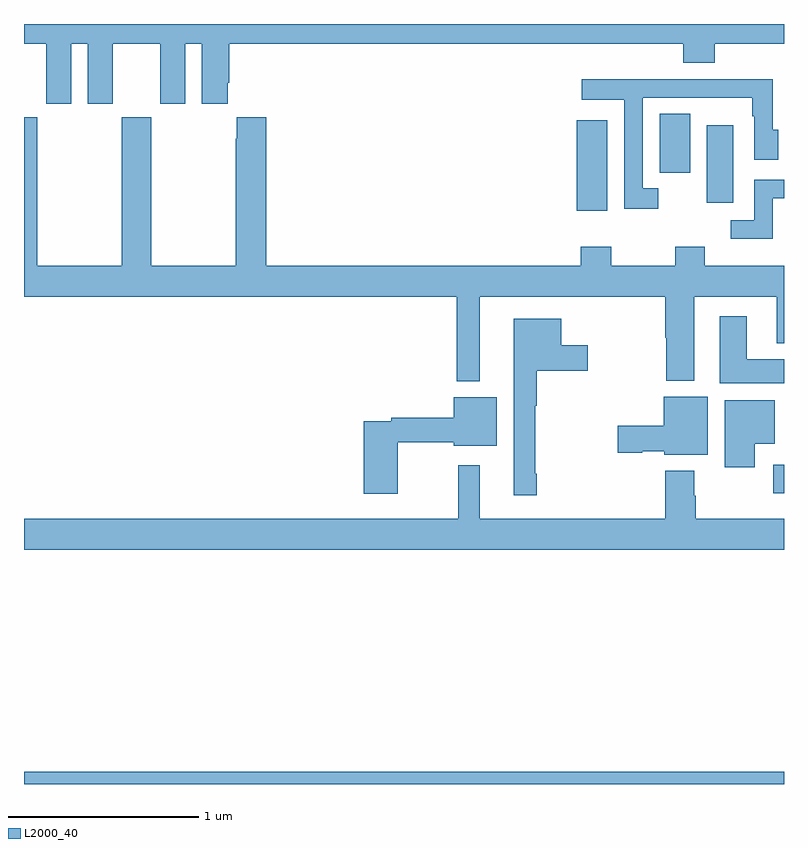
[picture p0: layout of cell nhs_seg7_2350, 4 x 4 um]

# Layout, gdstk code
import gdstk
lib = gdstk.Library(unit=1e-6, precision=1e-09)
def R(c, l, rs):  # rectangles x0, y0, x1, y1
    for r in rs: c.add(gdstk.rectangle(r[:2], r[2:], *l))
def P(c, l, *ps):  # polygons
    for p in ps: c.add(gdstk.Polygon(p, *l))
L2000_40 = (2000, 40)

nhs_seg7_2350 = lib.new_cell('nhs_seg7_2350')
R(nhs_seg7_2350, L2000_40, [(263,1050,267,1050.064), (266.943,1051.529,267,1051.681), (265.91,1053.018,266.071,1053.493), (266.594,1053.06,266.734,1053.466), (266.345,1053.216,266.506,1053.527)])
P(nhs_seg7_2350, L2000_40, [(263.248,1053.896),(263.336,1053.896),(263.336,1053.579),(263.467,1053.579),(263.467,1053.896),(263.717,1053.896),(263.717,1053.579),(263.848,1053.579),(263.848,1053.896),(263.936,1053.896),(263.936,1053.579),(264.073,1053.579),(264.073,1053.691),(264.08,1053.691),(264.08,1053.896),(266.471,1053.896),(266.471,1053.797),(266.636,1053.797),(266.636,1053.896),(267,1053.896),(267,1054),(263,1054),(263,1053.896),(263.117,1053.896),(263.117,1053.579),(263.248,1053.579)],
  [(266.338,1053.135),(266.256,1053.135),(266.256,1053.612),(266.602,1053.612),(266.602,1053.611),(266.832,1053.611),(266.832,1053.515),(266.844,1053.515),(266.844,1053.285),(266.971,1053.285),(266.971,1053.444),(266.94,1053.444),(266.94,1053.71),(266.719,1053.71),(266.719,1053.708),(266.353,1053.708),(266.353,1053.71),(265.935,1053.71),(265.935,1053.602),(266.16,1053.602),(266.16,1053.027),(266.338,1053.027)],
  [(265.399,1052.564),(266.375,1052.564),(266.375,1052.349),(266.38,1052.349),(266.38,1052.123),(266.527,1052.123),(266.527,1052.564),(266.963,1052.564),(266.963,1052.321),(267,1052.321),(267,1052.728),(266.583,1052.728),(266.583,1052.827),(266.428,1052.827),(266.428,1052.728),(266.091,1052.728),(266.091,1052.827),(265.931,1052.827),(265.931,1052.728),(264.275,1052.728),(264.275,1053.508),(264.119,1053.508),(264.119,1053.395),(264.115,1053.395),(264.115,1052.728),(263.67,1052.728),(263.67,1053.508),(263.515,1053.508),(263.515,1052.728),(263.07,1052.728),(263.07,1053.508),(263,1053.508),(263,1052.564),(265.278,1052.564),(265.278,1052.12),(265.399,1052.12)],
  [(266.94,1053.084),(267,1053.084),(267,1053.18),(266.844,1053.18),(266.844,1052.967),(266.721,1052.967),(266.721,1052.87),(266.94,1052.87)],
  [(267,1052.236),(266.803,1052.236),(266.803,1052.461),(266.663,1052.461),(266.663,1052.108),(267,1052.108)],
  [(265.699,1051.633),(265.691,1051.633),(265.691,1051.99),(265.699,1051.99),(265.699,1052.174),(265.966,1052.174),(265.966,1052.308),(265.828,1052.308),(265.828,1052.449),(265.577,1052.449),(265.577,1051.521),(265.699,1051.521)],
  [(266.599,1052.038),(266.366,1052.038),(266.366,1051.886),(266.124,1051.886),(266.124,1051.744),(266.253,1051.744),(266.253,1051.751),(266.37,1051.751),(266.37,1051.733),(266.599,1051.733)],
  [(264.966,1051.8),(265.262,1051.8),(265.262,1051.781),(265.489,1051.781),(265.489,1052.035),(265.262,1052.035),(265.262,1051.928),(264.934,1051.928),(264.934,1051.908),(264.788,1051.908),(264.788,1051.527),(264.966,1051.527)],
  [(266.845,1051.79),(266.95,1051.79),(266.95,1052.02),(266.687,1052.02),(266.687,1051.668),(266.845,1051.668)],
  [(267,1051.396),(266.535,1051.396),(266.535,1051.517),(266.527,1051.517),(266.527,1051.648),(266.375,1051.648),(266.375,1051.396),(265.399,1051.396),(265.399,1051.678),(265.285,1051.678),(265.285,1051.396),(263,1051.396),(263,1051.232),(267,1051.232)])

lib.write_gds('nhs_seg7_2350.gds')
